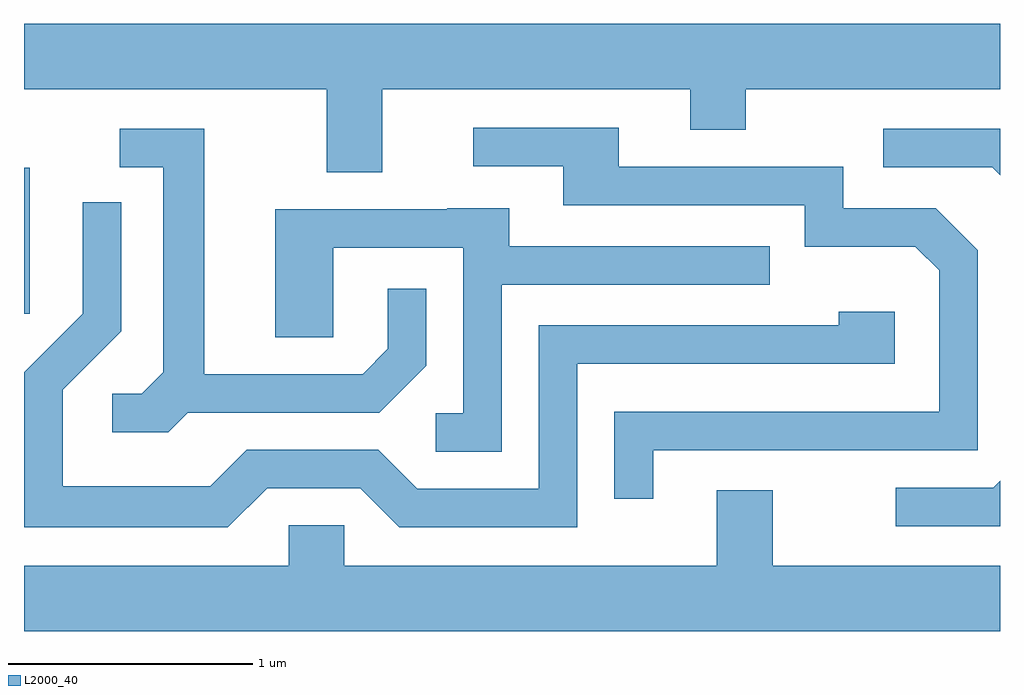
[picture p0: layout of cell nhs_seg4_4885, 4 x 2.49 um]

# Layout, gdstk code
import gdstk
lib = gdstk.Library(unit=1e-6, precision=1e-09)
def R(c, l, rs):  # rectangles x0, y0, x1, y1
    for r in rs: c.add(gdstk.rectangle(r[:2], r[2:], *l))
def P(c, l, *ps):  # polygons
    for p in ps: c.add(gdstk.Polygon(p, *l))
L2000_40 = (2000, 40)

nhs_seg4_4885 = lib.new_cell('nhs_seg4_4885')
R(nhs_seg4_4885, L2000_40, [(327.611,1369.296,327.634,1369.894)])
P(nhs_seg4_4885, L2000_40, [(329.079,1370.216),(330.341,1370.216),(330.341,1370.051),(330.569,1370.051),(330.569,1370.216),(331.611,1370.216),(331.611,1370.484),(327.611,1370.484),(327.611,1370.216),(328.851,1370.216),(328.851,1369.876),(329.079,1369.876)],
  [(330.189,1368.736),(331.519,1368.736),(331.519,1369.557),(331.347,1369.729),(330.969,1369.729),(330.969,1369.899),(330.049,1369.899),(330.049,1370.059),(329.453,1370.059),(329.453,1369.901),(329.821,1369.901),(329.821,1369.741),(330.811,1369.741),(330.811,1369.571),(331.264,1369.571),(331.361,1369.474),(331.361,1368.894),(330.031,1368.894),(330.031,1368.538),(330.189,1368.538)],
  [(331.611,1370.054),(331.133,1370.054),(331.133,1369.896),(331.579,1369.896),(331.611,1369.864)],
  [(328.282,1368.891),(329.067,1368.891),(329.259,1369.084),(329.259,1369.398),(329.101,1369.398),(329.101,1369.152),(328.999,1369.049),(328.349,1369.049),(328.349,1370.054),(328.003,1370.054),(328.003,1369.896),(328.181,1369.896),(328.181,1369.057),(328.094,1368.969),(327.973,1368.969),(327.973,1368.811),(328.202,1368.811)],
  [(328.607,1368.581),(328.989,1368.581),(329.149,1368.421),(329.879,1368.421),(329.879,1369.091),(331.179,1369.091),(331.179,1369.304),(330.951,1369.304),(330.951,1369.249),(329.721,1369.249),(329.721,1368.579),(329.222,1368.579),(329.062,1368.739),(328.524,1368.739),(328.374,1368.589),(327.769,1368.589),(327.769,1368.984),(328.009,1369.224),(328.009,1369.753),(327.851,1369.753),(327.851,1369.297),(327.611,1369.057),(327.611,1368.421),(328.447,1368.421)],
  [(329.569,1369.416),(330.668,1369.416),(330.668,1369.574),(329.599,1369.574),(329.599,1369.729),(329.345,1369.729),(329.345,1369.724),(328.641,1369.724),(328.641,1369.201),(328.879,1369.201),(328.879,1369.566),(329.411,1369.566),(329.411,1368.889),(329.298,1368.889),(329.298,1368.731),(329.569,1368.731)],
  [(331.611,1368.611),(331.584,1368.584),(331.183,1368.584),(331.183,1368.426),(331.611,1368.426)],
  [(331.611,1368.264),(330.679,1368.264),(330.679,1368.574),(330.451,1368.574),(330.451,1368.264),(328.924,1368.264),(328.924,1368.429),(328.696,1368.429),(328.696,1368.264),(327.611,1368.264),(327.611,1367.996),(331.611,1367.996)])

lib.write_gds('nhs_seg4_4885.gds')
